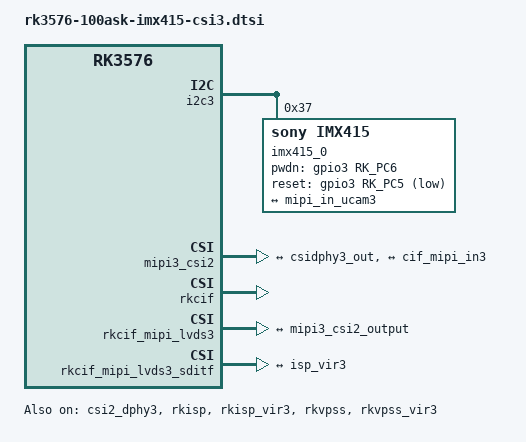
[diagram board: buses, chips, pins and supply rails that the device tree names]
&csi2_dphy3 {
	status = "okay";
	
	ports {
		#address-cells = <1>;
		#size-cells = <0>;
		port@0 {
			reg = <0>;
			#address-cells = <1>;
			#size-cells = <0>;

			mipi_in_ucam3: endpoint@1 {
					reg = <1>;
					remote-endpoint = <&imx415_out0>;
					data-lanes = <1 2 3 4>;
			};
		};
		port@1 {
			reg = <1>;
			#address-cells = <1>;
			#size-cells = <0>;

			csidphy3_out: endpoint@0 {
				reg = <0>;
				remote-endpoint = <&mipi3_csi2_input>;
			};
		};
	};
};


&i2c3 {
	status = "okay";
	pinctrl-0 = <&i2c3m2_xfer>;
	
	imx415_0: imx415_0@37 {
		status = "okay";
		compatible = "sony,imx415";
		reg = <0x37>;
		clocks = <&cru CLK_MIPI_CAMERAOUT_M2>;
		clock-names = "xvclk";
		pinctrl-names = "default";
		pinctrl-0 = <&cam_clk2m0_clk2>;
		power-domains = <&power RK3576_PD_VI>;
		pwdn-gpios = <&gpio3 RK_PC6 GPIO_ACTIVE_HIGH>;
		reset-gpios = <&gpio3 RK_PC5 GPIO_ACTIVE_LOW>;
		rockchip,camera-module-index = <1>;
		rockchip,camera-module-facing = "front";
		rockchip,camera-module-name = "CMK-OT2022-PX1";
		rockchip,camera-module-lens-name = "IR0147-50IRC-8M-F20";
		port {
			imx415_out0: endpoint {
				remote-endpoint = <&mipi_in_ucam3>;
				data-lanes = <1 2 3 4>;
			};
		};
	};

};

&mipi3_csi2 {
	status = "okay";

	ports {
		#address-cells = <1>;
		#size-cells = <0>;

		port@0 {
			reg = <0>;
			#address-cells = <1>;
			#size-cells = <0>;

			mipi3_csi2_input: endpoint@1 {
				reg = <1>;
				remote-endpoint = <&csidphy3_out>;
			};
		};

		port@1 {
			reg = <1>;
			#address-cells = <1>;
			#size-cells = <0>;

			mipi3_csi2_output: endpoint@0 {
				reg = <0>;
				remote-endpoint = <&cif_mipi_in3>;
			};
		};
	};
};

&rkcif {
	status = "okay";
};

&rkcif_mipi_lvds3 {
	status = "okay";

	port {
		cif_mipi_in3: endpoint {
			remote-endpoint = <&mipi3_csi2_output>;
		};
	};
};

&rkcif_mipi_lvds3_sditf {
	status = "okay";

	port {
		mipi3_lvds_sditf: endpoint {
			remote-endpoint = <&isp_vir3>;
		};
	};
};

&rkcif_mmu {
	status = "okay";
};

&rkisp {
	status = "okay";
};

&rkisp_mmu {
	status = "okay";
};

&rkisp_vir3 {
	status = "okay";

	port {
		#address-cells = <1>;
		#size-cells = <0>;

		isp_vir3: endpoint@0 {
			reg = <0>;
			remote-endpoint = <&mipi3_lvds_sditf>;
		};
	};
};

&rkvpss {
	status = "okay";
};

&rkvpss_mmu {
	status = "okay";
};

&rkvpss_vir3 {
	status = "okay";
};

